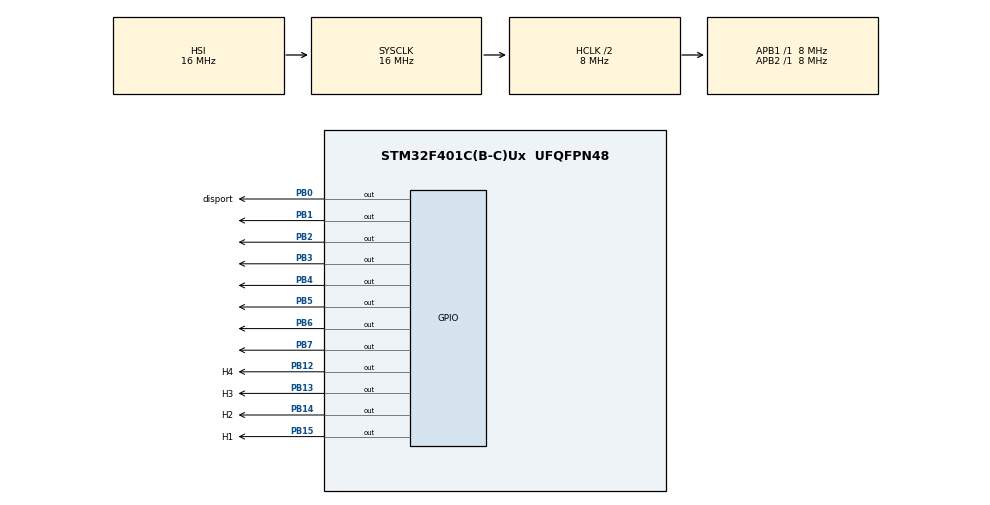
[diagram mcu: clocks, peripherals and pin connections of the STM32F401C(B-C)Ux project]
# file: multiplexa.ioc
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Mcu.Family=STM32F4
Mcu.Name=STM32F401C(B-C)Ux
Mcu.Package=UFQFPN48
NVIC.PriorityGroup=NVIC_PRIORITYGROUP_4
PB0.GPIO_Label=disport
PB0.Signal=GPIO_Output
PB1.Signal=GPIO_Output
PB12.GPIO_Label=H4
PB12.Signal=GPIO_Output
PB13.GPIO_Label=H3
PB13.Signal=GPIO_Output
PB14.GPIO_Label=H2
PB14.Signal=GPIO_Output
PB15.GPIO_Label=H1
PB15.Signal=GPIO_Output
PB2.Signal=GPIO_Output
PB3.Signal=GPIO_Output
PB4.Signal=GPIO_Output
PB5.Signal=GPIO_Output
PB6.Signal=GPIO_Output
PB7.Signal=GPIO_Output
PH0\ -\ OSC_IN.Mode=HSE-External-Oscillator
PH0\ -\ OSC_IN.Signal=RCC_OSC_IN
PH1\ -\ OSC_OUT.Mode=HSE-External-Oscillator
PH1\ -\ OSC_OUT.Signal=RCC_OSC_OUT
ProjectManager.HeapSize=0x200
ProjectManager.StackSize=0x400
ProjectManager.TargetToolchain=STM32CubeIDE
RCC.AHBCLKDivider=RCC_SYSCLK_DIV2
RCC.AHBFreq_Value=8000000
RCC.APB1Freq_Value=8000000
RCC.APB1TimFreq_Value=8000000
RCC.APB2Freq_Value=8000000
RCC.APB2TimFreq_Value=8000000
RCC.CortexFreq_Value=8000000
RCC.HCLKFreq_Value=8000000
RCC.HSE_VALUE=25000000
RCC.HSI_VALUE=16000000
RCC.LSE_VALUE=32768
RCC.SYSCLKFreq_VALUE=16000000
RCC.VCOOutputFreq_Value=192000000
board=custom

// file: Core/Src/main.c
/* USER CODE BEGIN Header */
/**
  ******************************************************************************
  * @file           : main.c
  * @brief          : Main program body
  ******************************************************************************
  * @attention
  *
  * Copyright (c) 2023 STMicroelectronics.
  * All rights reserved.
  *
  * This software is licensed under terms that can be found in the LICENSE file
  * in the root directory of this software component.
  * If no LICENSE file comes with this software, it is provided AS-IS.
  *
  *
\\  ******************************************************************************
  */
/* USER CODE END Header */
#include "main.h"

/* USER CODE BEGIN PTD */
//#define display disport_GPIO_Port->ODR  //con registro

#define display disport_GPIO_Port->BSRR  //FORMA  ATOMICA

#define habilita  H1_GPIO_Port->BSRR
/* USER CODE END PTD */

void SystemClock_Config(void);
static void MX_GPIO_Init(void);

/* USER CODE BEGIN 0 */
void display_dato(uint32_t dato)

{    dato=dato&0x000000ff;// toma solo la parte baja

    display=dato|(~dato<<16);
}

void apagatodo()
{
    // habilita=H1_Pin |H2_Pin |H3_Pin |H4_Pin;  //  CATODO SI APAGA CON 1
	 habilita=(H1_Pin |H2_Pin |H3_Pin |H4_Pin)<<16;  //ANODO SI APAGA CON CERO

}

void catodo_ODR()
{
	  apagatodo();
 	    display=0x76;//H  SACA DATO DESEADO modifica todo el puerto
 	 // display_dato(0x76);//H Saca el dato en forma atomica no modifica otros pines
 	//  habilita= H1_Pin;//si se habilita con 1
    	habilita=H1_Pin<<16;//si se habilita con 0
 //	  habilita= H1_Pin<<16 |(H2_Pin|H3_Pin|H4_Pin);//si se habilita con cero mismo GPIO
  	  HAL_Delay(5);//retardo de visualizacion

	  apagatodo();
	   display=0x3f;//O  SACA DATO DESEADO modifica todo el puerto
  	  //display_dato(0x3F);//H Saca el dato en forma atomica no modifica otros pines
  	// habilita= H2_Pin;//si se habilita con 1
	 habilita= H2_Pin<<16;//si se habilita con 0
  	//  habilita= H1_Pin|H3_Pin|H4_Pin;//si se habilita con cero mismo GPIO
   	  HAL_Delay(5);//retardo de visualizacion

   	  apagatodo();
	   display=0x38;//L  SACA DATO DESEADO modifica todo el puerto
  	  //display_dato(0x38);//H Saca el dato en forma atomica no modifica otros pines
  	// habilita= H3_Pin;//si se habilita con 1
	 habilita= H3_Pin<<16;//si se habilita con 0
  	//  habilita= H1_Pin|H2_Pin|H4_Pin;//si se habilita con cero mismo GPIO
   	  HAL_Delay(5);//retardo de visualizacion

	  apagatodo();
	  display=0x77;//A  SACA DATO DESEADO modifica todo el puerto
  	 // display_dato(0x77);//H Saca el dato en forma atomica no modifica otros pines
  	// habilita= H4_Pin;//si se habilita con 1
	  habilita= H4_Pin<<16;//si se habilita con 0
  	  //habilita= H1_Pin|H2_Pin|H3_Pin;//si se habilita con cero mismo GPIO
   	  HAL_Delay(5);//retardo de visualizacion

}

void catodo_ATO()
{
	  apagatodo();
 	    //display=0x76;//H  SACA DATO DESEADO modifica todo el puerto
 	  display_dato(0x76);//H Saca el dato en forma atomica no modifica otros pines
 	//  habilita= H1_Pin;//si se habilita con 1
    	habilita=H1_Pin<<16;//si se habilita con 0
 //	  habilita= H1_Pin<<16 |(H2_Pin|H3_Pin|H4_Pin);//si se habilita con cero mismo GPIO
  	  HAL_Delay(5);//retardo de visualizacion

	  apagatodo();
	 //  display=0x3f;//O  SACA DATO DESEADO modifica todo el puerto
  	 display_dato(0x3F);//H Saca el dato en forma atomica no modifica otros pines
  	// habilita= H2_Pin;//si se habilita con 1
	 habilita= H2_Pin<<16;//si se habilita con 0
  	//  habilita= H1_Pin|H3_Pin|H4_Pin;//si se habilita con cero mismo GPIO
   	  HAL_Delay(5);//retardo de visualizacion

   	  apagatodo();
	 //  display=0x38;//L  SACA DATO DESEADO modifica todo el puerto
  	  display_dato(0x38);//H Saca el dato en forma atomica no modifica otros pines
  	// habilita= H3_Pin;//si se habilita con 1
	 habilita= H3_Pin<<16;//si se habilita con 0
  	//  habilita= H1_Pin|H2_Pin|H4_Pin;//si se habilita con cero mismo GPIO
   	  HAL_Delay(5);//retardo de visualizacion

	  apagatodo();
	  //display=0x77;//A  SACA DATO DESEADO modifica todo el puerto
  	  display_dato(0x77);//H Saca el dato en forma atomica no modifica otros pines
  	// habilita= H4_Pin;//si se habilita con 1
	  habilita= H4_Pin<<16;//si se habilita con 0
  	  //habilita= H1_Pin|H2_Pin|H3_Pin;//si se habilita con cero mismo GPIO
   	  HAL_Delay(5);//retardo de visualizacion

}

void catodo_ATO_port()
{

        	  apagatodo();
		   	   // display=0x76;//H  SACA DATO DESEADO modifica todo el puerto
		   	  display_dato(0x76);//H Saca el dato en forma atomica no modifica otros pines
		   	//  habilita= H1_Pin;//si se habilita con 1
		//	   	habilita= H1_Pin<<16>;//si se habilita con 0
		   	  habilita= H1_Pin<<16 |(H2_Pin|H3_Pin|H4_Pin);//si se habilita con cero mismo GPIO
	 	   	  HAL_Delay(5);//retardo de visualizacion

	 		  apagatodo();
	   	   // display=0x3f;//O  SACA DATO DESEADO modifica todo el puerto
     	   	  display_dato(0x3F);//H Saca el dato en forma atomica no modifica otros pines
	 	   	// habilita= H2_Pin;//si se habilita con 1
	 		// habilita= H2_Pin<<16;//si se habilita con 0
     	   	 habilita= H2_Pin<<16 |(H1_Pin|H3_Pin|H4_Pin);//si se habilita con cero mismo GPIO
	  	   	  HAL_Delay(5);//retardo de visualizacion

	  	   	  apagatodo();
	   	   // display=0x38;//L  SACA DATO DESEADO modifica todo el puerto
     	   	  display_dato(0x38);//H Saca el dato en forma atomica no modifica otros pines
	 	   	// habilita= H3_Pin;//si se habilita con 1
	 		// habilita= H3_Pin<<16;//si se habilita con 0
     	   	 habilita= H3_Pin<<16 |(H1_Pin|H2_Pin|H4_Pin);//si se habilita con cero mismo GPIO
	  	   	  HAL_Delay(5);//retardo de visualizacion

	 		  apagatodo();
	   	   // display=0x77;//A  SACA DATO DESEADO modifica todo el puerto
     	   	  display_dato(0x77);//H Saca el dato en forma atomica no modifica otros pines
	 	   	// habilita= H4_Pin;//si se habilita con 1
	 		// habilita= H4_Pin<<16;//si se habilita con 0
     	   	 habilita= H4_Pin<<16 |(H1_Pin|H2_Pin|H3_Pin);//si se habilita con cero mismo GPIO
	  	   	  HAL_Delay(5);//retardo de visualizacion
}

void catodo_ATO_port_REAL()
{

        	  apagatodo();
		   	   // display=0x76;//H  SACA DATO DESEADO modifica todo el puerto
		   	  display_dato(0x76);//H Saca el dato en forma atomica no modifica otros pines
		   	//  habilita= H1_Pin;//si se habilita con 1
		//	   	habilita= H1_Pin<<16>;//si se habilita con 0
		   	  habilita= H1_Pin;//si se habilita con cero mismo GPIO
	 	   	  HAL_Delay(5);//retardo de visualizacion

	 		  apagatodo();
	   	   // display=0x3f;//O  SACA DATO DESEADO modifica todo el puerto
     	   	  display_dato(0x3F);//H Saca el dato en forma atomica no modifica otros pines
	 	   	// habilita= H2_Pin;//si se habilita con 1
	 		// habilita= H2_Pin<<16;//si se habilita con 0
     	   	 habilita= H2_Pin;//si se habilita con cero mismo GPIO
	  	   	  HAL_Delay(5);//retardo de visualizacion

	  	   	  apagatodo();
	   	   // display=0x38;//L  SACA DATO DESEADO modifica todo el puerto
     	   	  display_dato(0x38);//H Saca el dato en forma atomica no modifica otros pines
	 	   	// habilita= H3_Pin;//si se habilita con 1
	 		// habilita= H3_Pin<<16;//si se habilita con 0
     	   	 habilita= H3_Pin;//si se habilita con cero mismo GPIO
	  	   	  HAL_Delay(5);//retardo de visualizacion

	 		  apagatodo();
	   	   // display=0x77;//A  SACA DATO DESEADO modifica todo el puerto
     	   	  display_dato(0x77);//H Saca el dato en forma atomica no modifica otros pines
	 	   	// habilita= H4_Pin;//si se habilita con 1
	 		// habilita= H4_Pin<<16;//si se habilita con 0
     	   	 habilita= H4_Pin;//si se habilita con cero mismo GPIO
	  	   	  HAL_Delay(5);//retardo de visualizacion
}

void anodo_ODR()
{
     	 apagatodo();
	 	  display=~0x76;//H  SACA DATO DESEADO modifica todo el puerto
	 	  //display_dato(~0x76);//H Saca el dato en forma atomica no modifica otros pines
	 	  habilita= H1_Pin;//si se habilita con 1
	    //	habilita=H1_Pin<<16;//si se habilita con 0
	 //	  habilita= H1_Pin<<16 |(H2_Pin|H3_Pin|H4_Pin);//si se habilita con cero mismo GPIO
	  	  HAL_Delay(5);//retardo de visualizacion

		  apagatodo();
		 display=~0x3f;//O  SACA DATO DESEADO modifica todo el puerto
	  	// display_dato(~0x3F);//H Saca el dato en forma atomica no modifica otros pines
	  	 habilita= H2_Pin;//si se habilita con 1
		// habilita= H2_Pin<<16;//si se habilita con 0
	  	//  habilita= H1_Pin|H3_Pin|H4_Pin;//si se habilita con cero mismo GPIO
	   	  HAL_Delay(5);//retardo de visualizacion

	   	  apagatodo();
		  display=~0x38;//L  SACA DATO DESEADO modifica todo el puerto
	  	//  display_dato(~0x38);//H Saca el dato en forma atomica no modifica otros pines
	  	 habilita= H3_Pin;//si se habilita con 1
		 //habilita= H3_Pin<<16;//si se habilita con 0
	  	//  habilita= H1_Pin|H2_Pin|H4_Pin;//si se habilita con cero mismo GPIO
	   	  HAL_Delay(5);//retardo de visualizacion

		  apagatodo();
		  display=~0x77;//A  SACA DATO DESEADO modifica todo el puerto
	  	  //display_dato(~0x77);//H Saca el dato en forma atomica no modifica otros pines
	  	 habilita= H4_Pin;//si se habilita con 1
		//  habilita= H4_Pin<<16;//si se habilita con 0
	  	  //habilita= H1_Pin|H2_Pin|H3_Pin;//si se habilita con cero mismo GPIO
	   	  HAL_Delay(5);//retardo de visualizacion

}

void anodo_ATO()
{
	  apagatodo();
 	    //display=~0x76;//H  SACA DATO DESEADO modifica todo el puerto
 	  display_dato(~0x76);//H Saca el dato en forma atomica no modifica otros pines
 	  habilita= H1_Pin;//si se habilita con 1
    //	habilita=H1_Pin<<16;//si se habilita con 0
 //	  habilita= H1_Pin<<16 |(H2_Pin|H3_Pin|H4_Pin);//si se habilita con cero mismo GPIO
  	  HAL_Delay(5);//retardo de visualizacion

	  apagatodo();
	 //  display=~0x3f;//O  SACA DATO DESEADO modifica todo el puerto
  	 display_dato(~0x3F);//H Saca el dato en forma atomica no modifica otros pines
  	 habilita= H2_Pin;//si se habilita con 1
	// habilita= H2_Pin<<16;//si se habilita con 0
  	//  habilita= H1_Pin|H3_Pin|H4_Pin;//si se habilita con cero mismo GPIO
   	  HAL_Delay(5);//retardo de visualizacion

   	  apagatodo();
	 //  display=~0x38;//L  SACA DATO DESEADO modifica todo el puerto
  	  display_dato(~0x38);//H Saca el dato en forma atomica no modifica otros pines
  	 habilita= H3_Pin;//si se habilita con 1
	 //habilita= H3_Pin<<16;//si se habilita con 0
  	//  habilita= H1_Pin|H2_Pin|H4_Pin;//si se habilita con cero mismo GPIO
   	  HAL_Delay(5);//retardo de visualizacion

	  apagatodo();
	  //display=~0x77;//A  SACA DATO DESEADO modifica todo el puerto
  	  display_dato(~0x77);//H Saca el dato en forma atomica no modifica otros pines
  	 habilita= H4_Pin;//si se habilita con 1
	//  habilita= H4_Pin<<16;//si se habilita con 0
  	  //habilita= H1_Pin|H2_Pin|H3_Pin;//si se habilita con cero mismo GPIO
   	  HAL_Delay(5);//retardo de visualizacion

}

void anodo_ATO_port()
{
	     apagatodo();
	   	   // display=0x76;//H  SACA DATO DESEADO modifica todo el puerto
	   	  display_dato(~0x76);//H Saca el dato en forma atomica no modifica otros pines
	   	//  habilita= H1_Pin;//si se habilita con 1
	   	  //habilita= H1_Pin<<16 |(H2_Pin|H3_Pin|H4_Pin);//si se habilita con cero forma atomico
			habilita= H1_Pin; // si se habilita con uno forma atomico
 	   	  HAL_Delay(5);//retardo de visualizacion

	        apagatodo();
	   	 // display=0x3F;//0  SACA DATO DESEADO modifica todo el puerto
	   	  display_dato(~0x3f);//0 Saca el dato en forma atomica no modifica otros pines
	   	  habilita= H2_Pin;//si se habilita con uno forma atomico
	   	//habilita|=H2_Pin<<16;//si se habilita con cero
	   	//  habilita= H2_Pin<<16 |(H1_Pin|H3_Pin|H4_Pin);//si se habilita con cero forma atomica
	   	  HAL_Delay(5);//retardo de visualizacion

	        apagatodo();
	   	 // display=0x38;//L  SACA DATO DESEADO modifica todo el puerto
	   	  display_dato(~0x38);//L  Saca el dato en forma atomica no modifica otros pines
	  	  habilita= H3_Pin;  //si se habilita con 1
	  	//habilita|=H3_Pin<<16;//si se habilita con cero
	  	  // habilita= H3_Pin<<16 |(H1_Pin|H2_Pin|H4_Pin);//si se habilita con cero forma atomica
	  	  HAL_Delay(5);//retardo de visualizacion

	     apagatodo();
	   	 //display=0x77;//A  SACA DATO DESEADO modificsa todo el puerto
	   	 display_dato(~0x77);//A  Saca el dato en forma atomica no modifica otros pines
	   	  habilita|= H4_Pin;  //si se habilita con 1
	   	 //   habilita|=H4_Pin<<16;//si se habilita con cero
	   //	 habilita= H4_Pin<<16 |(H1_Pin|H2_Pin|H3_Pin);//si se habilita con cero mismo puerto
	   	  HAL_Delay(5);//retardo de visualizacion

}

/* USER CODE END 0 */

int main(void)
{

  /* MCU Configuration--------------------------------------------------------*/

  /* Reset of all peripherals, Initializes the Flash interface and the Systick. */
  HAL_Init();

  /* Configure the system clock */
  SystemClock_Config();

  /* Initialize all configured peripherals */
  MX_GPIO_Init();

  /* Infinite loop */
  /* USER CODE BEGIN WHILE */

  while (1)
  {
catodo_ATO_port_REAL();

    /* USER CODE END WHILE */

  }
}

void SystemClock_Config(void)
{
  RCC_OscInitTypeDef RCC_OscInitStruct = {0};
  RCC_ClkInitTypeDef RCC_ClkInitStruct = {0};

  /** Configure the main internal regulator output voltage
  */
  __HAL_RCC_PWR_CLK_ENABLE();
  __HAL_PWR_VOLTAGESCALING_CONFIG(PWR_REGULATOR_VOLTAGE_SCALE2);

  /** Initializes the RCC Oscillators according to the specified parameters
  * in the RCC_OscInitTypeDef structure.
  */
  RCC_OscInitStruct.OscillatorType = RCC_OSCILLATORTYPE_HSI;
  RCC_OscInitStruct.HSIState = RCC_HSI_ON;
  RCC_OscInitStruct.HSICalibrationValue = RCC_HSICALIBRATION_DEFAULT;
  RCC_OscInitStruct.PLL.PLLState = RCC_PLL_NONE;
  if (HAL_RCC_OscConfig(&RCC_OscInitStruct) != HAL_OK)
  {
    Error_Handler();
  }

  /** Initializes the CPU, AHB and APB buses clocks
  */
  RCC_ClkInitStruct.ClockType = RCC_CLOCKTYPE_HCLK|RCC_CLOCKTYPE_SYSCLK
                              |RCC_CLOCKTYPE_PCLK1|RCC_CLOCKTYPE_PCLK2;
  RCC_ClkInitStruct.SYSCLKSource = RCC_SYSCLKSOURCE_HSI;
  RCC_ClkInitStruct.AHBCLKDivider = RCC_SYSCLK_DIV2;
  RCC_ClkInitStruct.APB1CLKDivider = RCC_HCLK_DIV1;
  RCC_ClkInitStruct.APB2CLKDivider = RCC_HCLK_DIV1;

  if (HAL_RCC_ClockConfig(&RCC_ClkInitStruct, FLASH_LATENCY_0) != HAL_OK)
  {
    Error_Handler();
  }
}

static void MX_GPIO_Init(void)
{
  GPIO_InitTypeDef GPIO_InitStruct = {0};

  /* GPIO Ports Clock Enable */
  __HAL_RCC_GPIOH_CLK_ENABLE();
  __HAL_RCC_GPIOB_CLK_ENABLE();

  /*Configure GPIO pin Output Level */
  HAL_GPIO_WritePin(GPIOB, disport_Pin|GPIO_PIN_1|GPIO_PIN_2|H4_Pin
                          |H3_Pin|H2_Pin|H1_Pin|GPIO_PIN_3
                          |GPIO_PIN_4|GPIO_PIN_5|GPIO_PIN_6|GPIO_PIN_7, GPIO_PIN_RESET);

  /*Configure GPIO pins : disport_Pin PB1 PB2 H4_Pin
                           H3_Pin H2_Pin H1_Pin PB3
                           PB4 PB5 PB6 PB7 */
  GPIO_InitStruct.Pin = disport_Pin|GPIO_PIN_1|GPIO_PIN_2|H4_Pin
                          |H3_Pin|H2_Pin|H1_Pin|GPIO_PIN_3
                          |GPIO_PIN_4|GPIO_PIN_5|GPIO_PIN_6|GPIO_PIN_7;
  GPIO_InitStruct.Mode = GPIO_MODE_OUTPUT_PP;
  GPIO_InitStruct.Pull = GPIO_NOPULL;
  GPIO_InitStruct.Speed = GPIO_SPEED_FREQ_LOW;
  HAL_GPIO_Init(GPIOB, &GPIO_InitStruct);

}

void Error_Handler(void)
{
  __disable_irq();
  while (1)
  {
  }
}
